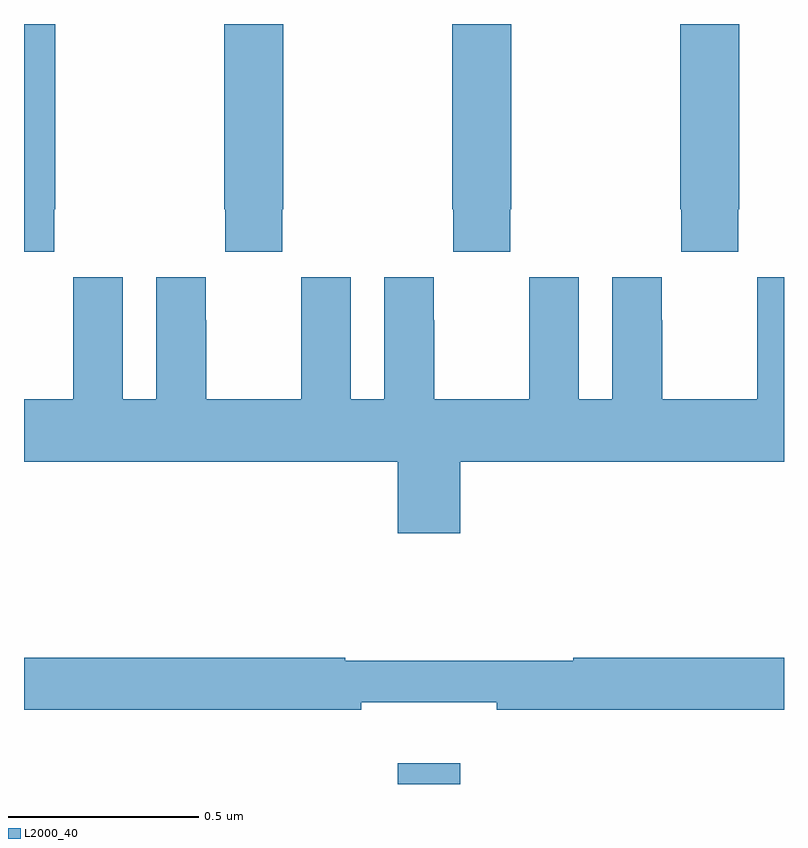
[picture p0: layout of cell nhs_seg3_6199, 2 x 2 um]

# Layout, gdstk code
import gdstk
lib = gdstk.Library(unit=1e-6, precision=1e-09)
def R(c, l, rs):  # rectangles x0, y0, x1, y1
    for r in rs: c.add(gdstk.rectangle(r[:2], r[2:], *l))
def P(c, l, *ps):  # polygons
    for p in ps: c.add(gdstk.Polygon(p, *l))
L2000_40 = (2000, 40)

nhs_seg3_6199 = lib.new_cell('nhs_seg3_6199')
R(nhs_seg3_6199, L2000_40, [(188.984,701.4,189.148,701.455)])
P(nhs_seg3_6199, L2000_40, [(188.079,702.913),(188.082,702.913),(188.082,703.4),(188,703.4),(188,702.801),(188.079,702.801)],
  [(188.679,702.913),(188.682,702.913),(188.682,703.4),(188.527,703.4),(188.527,702.913),(188.529,702.913),(188.529,702.801),(188.679,702.801)],
  [(189.279,702.913),(189.282,702.913),(189.282,703.4),(189.127,703.4),(189.127,702.913),(189.129,702.913),(189.129,702.801),(189.279,702.801)],
  [(189.879,702.913),(189.882,702.913),(189.882,703.4),(189.727,703.4),(189.727,702.913),(189.729,702.913),(189.729,702.801),(189.879,702.801)],
  [(188.984,702.06),(189.148,702.06),(189.148,702.248),(190,702.248),(190,702.733),(189.93,702.733),(189.93,702.62),(189.929,702.62),(189.929,702.412),(189.679,702.412),(189.679,702.62),(189.678,702.62),(189.678,702.733),(189.548,702.733),(189.548,702.412),(189.46,702.412),(189.46,702.733),(189.33,702.733),(189.33,702.62),(189.329,702.62),(189.329,702.412),(189.079,702.412),(189.079,702.62),(189.078,702.62),(189.078,702.733),(188.948,702.733),(188.948,702.412),(188.86,702.412),(188.86,702.733),(188.73,702.733),(188.73,702.62),(188.729,702.62),(188.729,702.412),(188.479,702.412),(188.479,702.62),(188.478,702.62),(188.478,702.733),(188.348,702.733),(188.348,702.412),(188.26,702.412),(188.26,702.733),(188.13,702.733),(188.13,702.62),(188.129,702.62),(188.129,702.412),(188,702.412),(188,702.248),(188.984,702.248)],
  [(188.888,701.615),(189.244,701.615),(189.244,701.596),(190,701.596),(190,701.732),(189.445,701.732),(189.445,701.725),(188.845,701.725),(188.845,701.732),(188,701.732),(188,701.596),(188.888,701.596)])

lib.write_gds('nhs_seg3_6199.gds')
